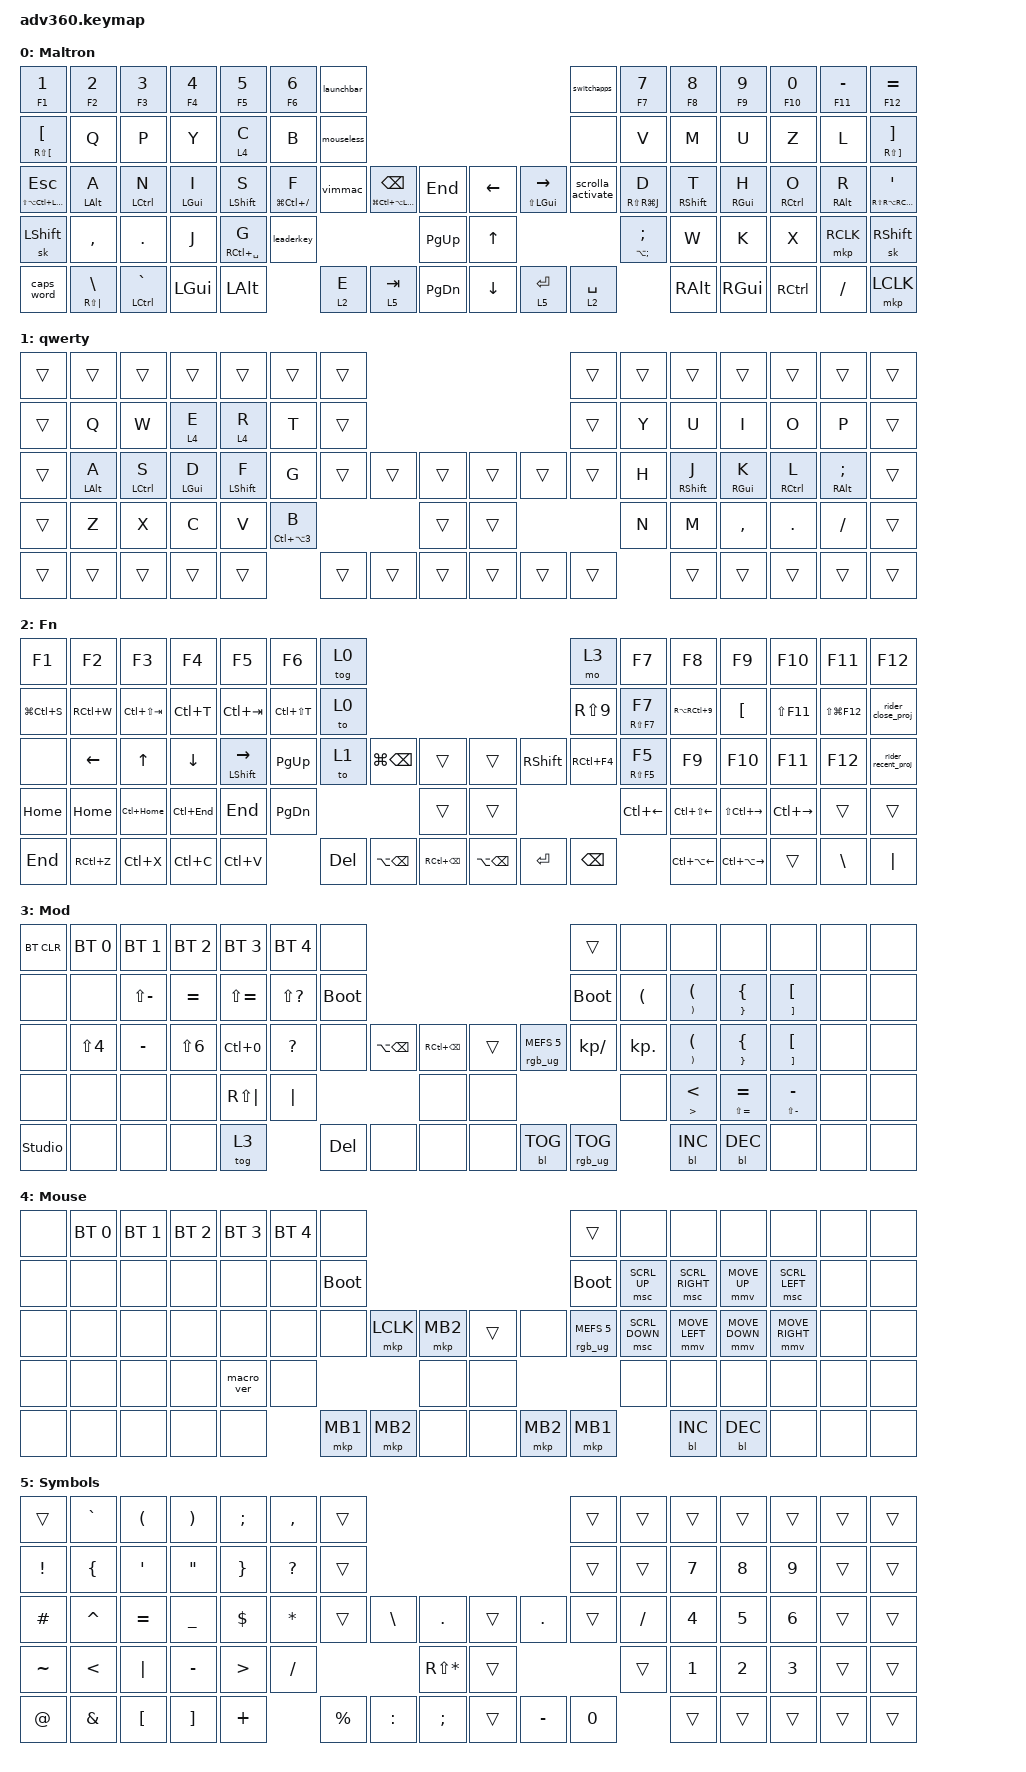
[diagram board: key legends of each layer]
#include <behaviors.dtsi>
#include <dt-bindings/zmk/backlight.h>
#include <dt-bindings/zmk/bt.h>
#include <dt-bindings/zmk/keys.h>
#include <dt-bindings/zmk/pointing.h>
#include <dt-bindings/zmk/rgb.h>

/ {
    behaviors {
        #include "macros.dtsi"
      #include "version.dtsi"
      #ifndef VERSION_MACRO

        macro_ver: macro_ver {
            compatible = "zmk,behavior-macro";
            label = "macro_version";
            #binding-cells = <0>;
            bindings = <&kp RET>;
        };

        #endif

        hm: homerow_mods {
            compatible = "zmk,behavior-hold-tap";
            label = "HOMEROW_MODS";
            #binding-cells = <2>;
            tapping-term-ms = <200>;
            quick_tap_ms = <0>;
            flavor = "tap-preferred";
            bindings = <&kp>, <&kp>;

            quick-tap-ms = <75>;
        };

        //
        // Home row mod-tap keys for all except index fingers
        //

        homey_left: miryoku_hrm_left_hand {
            compatible = "zmk,behavior-hold-tap";
            label = "HOME_ROW_MODS_LEFT_HAND";
            flavor = "balanced";
            hold-trigger-key-positions = <7 8 9 10 11 12 13 21 22 23 24 25 26 27 39 40 41 42 43 44 45 54 55 56 57 58 59 71 72 73 74 75 35 36 52 65 66 67 37 38 53 68 69 70>;
            hold-trigger-on-release; // wait for other home row mods
            tapping-term-ms = <300>;
            quick-tap-ms = <300>;
            global-quick-tap; // with typing streak
            #binding-cells = <2>;
            bindings = <&kp>, <&kp>;
        };

        homey_right: miryoku_hrm_right_hand {
            compatible = "zmk,behavior-hold-tap";
            label = "HOME_ROW_MODS_RIGHT_HAND";
            flavor = "balanced";
            hold-trigger-key-positions = <0 1 2 3 4 5 6 14 15 16 17 18 19 20 28 29 30 31 32 33 34 35 36 46 47 48 49 50 51 52 60 61 62 63 64 65 66 67 37 38 53 68 69 70>;
            hold-trigger-on-release; // wait for other home row mods
            tapping-term-ms = <300>;
            quick-tap-ms = <301>;
            global-quick-tap; // with typing streak
            #binding-cells = <2>;
            bindings = <&kp>, <&kp>;
        };

        //
        // Special home row mod-tap keys for the index fingers
        //

        index_left: miryoku_hrm_left_index_shift {
            compatible = "zmk,behavior-hold-tap";
            label = "HOME_ROW_MODS_LEFT_INDEX_SHIFT";
            flavor = "tap-preferred";
            hold-trigger-key-positions = <7 8 9 10 11 12 13 21 22 23 24 25 26 27 38 39 40 41 42 43 44 45 54 55 56 57 58 59 69 70 71 72 73 74 75 37 38 53 68 69 35 36 52 65 66 67>;

            //hold-trigger-on-release; // don't wait for other mods

            tapping-term-ms = <180>;
            quick-tap-ms = <300>; // enable repeat
            //global-quick-tap; // no typing streak

            #binding-cells = <2>;
            bindings = <&kp>, <&kp>;
        };

        index_right: miryoku_hrm_right_index_shift {
            compatible = "zmk,behavior-hold-tap";
            label = "HOME_ROW_MODS_RIGHT_INDEX_SHIFT";
            flavor = "tap-preferred";
            hold-trigger-key-positions = <0 1 14 15 16 17 18 19 20 28 29 30 31 32 33 34 35 36 46 47 48 49 50 51 52 60 61 62 63 64 65 66 67 2 3 4 5 6 37 37 38 53 68 69 70>;

            //hold-trigger-on-release; // don't wait for other mods

            tapping-term-ms = <180>;
            quick-tap-ms = <300>; // enable repeat
            //global-quick-tap; // no typing streak

            #binding-cells = <2>;
            bindings = <&kp>, <&kp>;
        };

        //
        // Thumb cluster hold-tap keys for Miryoku layers
        //

        thumb: miryoku_thumb_layer {
            compatible = "zmk,behavior-hold-tap";
            label = "MIRYOKU_LAYER_TAP_WITH_REPEAT";
            flavor = "balanced";
            tapping-term-ms = <200>;
            quick-tap-ms = <300>; // enable repeat
            //global-quick-tap; // no typing streak

            #binding-cells = <2>;
            bindings = <&mo>, <&kp>;
        };

        mouse_td: tap_dance_1 {
            compatible = "zmk,behavior-tap-dance";
            label = "MOUSE_TAP_DANCE";
            #binding-cells = <0>;
            tapping-term-ms = <200>;
            bindings = <&kp DEL>, <&tog 4>;
        };

        mouse_hold: mouse_hold_tap {
            compatible = "zmk,behavior-hold-tap";
            label = "MOUSE_HOLD_TAP";
            #binding-cells = <2>;
            flavor = "tap-preferred";
            tapping-term-ms = <200>;
            bindings = <&mo>, <&mouse_td>;
        };

        layer_hold: layer_hold_tap {
            compatible = "zmk,behavior-hold-tap";
            label = "LAYER_HOLD_TAP";
            #binding-cells = <2>;
            flavor = "hold-preferred";
            tapping-term-ms = <200>;
            bindings = <&mo>, <&tog>;
        };

        space_layer: space_layer {
            compatible = "zmk,behavior-hold-tap";
            label = "SPACE_LAYER";
            bindings = <&mo>, <&kp>;

            #binding-cells = <2>;
            tapping-term-ms = <200>;
            quick-tap-ms = <150>;
            flavor = "balanced";
        };

        hold_sticky: hold_sticky {
            compatible = "zmk,behavior-hold-tap";
            #binding-cells = <2>;
            flavor = "tap-preferred";
            tapping-term-ms = <200>;
            bindings = <&sk>, <&kp>;
        };

        tap_hold: tap_hold {
            compatible = "zmk,behavior-hold-tap";
            label = "TAP_HOLD";
            bindings = <&kp>, <&kp>;

            #binding-cells = <2>;
            tapping-term-ms = <200>;
            quick-tap-ms = <175>;
            flavor = "tap-preferred";
        };
    };

    macros {
        switchapps: switchapps {
            compatible = "zmk,behavior-macro";
            #binding-cells = <0>;
            bindings =
                <&macro_press>,
                <&kp LCMD>,
                <&macro_tap>,
                <&kp TAB>,
                <&macro_tap>,
                <&sk LGUI>,
                <&macro_release>,
                <&kp LGUI>;

            label = "SWITCHAPPS";
            tap-ms = <35>;
            wait-ms = <80>;
        };

        toggletalon: toggletalon {
            compatible = "zmk,behavior-macro";
            #binding-cells = <0>;
            bindings =
                <&macro_tap>,
                <&kp F1>,
                <&macro_pause_for_release>,
                <&macro_release>;

            label = "TOGGLETALON";
        };

        vimmac: vimmac {
            compatible = "zmk,behavior-macro";
            #binding-cells = <0>;
            bindings = <&kp LG(LA(Y))>, <&macro_release>;

            label = "VIMMAC";
        };

        clickleft: clickleft {
            compatible = "zmk,behavior-macro";
            #binding-cells = <0>;
            bindings = <&kp LS(LA(LC(LG(SPACE))))>, <&macro_release>;

            label = "CLICKLEFT";
        };

        clickright: clickright {
            compatible = "zmk,behavior-macro";
            #binding-cells = <0>;
            bindings = <&kp LS(LA(LC(LG(R))))>, <&macro_release>;

            label = "CLICKRIGHT";
        };

        launchbar: launchbar {
            compatible = "zmk,behavior-macro";
            #binding-cells = <0>;
            bindings = <&kp LC(SPACE)>, <&macro_release>;

            label = "LAUNCHBAR";
        };

        typ_rocket: typ_rocket {
            compatible = "zmk,behavior-macro";
            #binding-cells = <0>;
            bindings = <&kp SPACE &kp EQUAL &kp GT &kp SPACE>;
            label = "TYP_ROCKET";
        };

        typ_orderby: typ_orderby {
            compatible = "zmk,behavior-macro";
            #binding-cells = <0>;
            bindings = <&kp O &kp R &kp D &kp E &kp R &kp SPACE &kp B &kp Y &kp SPACE>;
            label = "TYP_ORDERBY";
        };

        typ_update: typ_update {
            compatible = "zmk,behavior-macro";
            #binding-cells = <0>;
            bindings = <&kp U &kp P &kp D &kp A &kp T &kp E &kp SPACE>;
            label = "TYP_UPDATE";
        };

        leaderkey: leaderkey {
            compatible = "zmk,behavior-macro";
            #binding-cells = <0>;
            bindings = <&kp LA(MINUS)>, <&macro_release>;

            label = "LEADERKEY";
        };

        mouseless: mouseless {
            compatible = "zmk,behavior-macro";
            #binding-cells = <0>;
            bindings = <&kp LG(LA(H))>;
            label = "MOUSELESS";
        };

        mouseless_toggle: mouseless_toggle {
            compatible = "zmk,behavior-macro";
            #binding-cells = <0>;
            bindings = <&kp LG(LA(U))>;
            label = "MOUSELESS_TOGGLE";
        };

        rider_close_proj: rider_close_proj {
            compatible = "zmk,behavior-macro";
            #binding-cells = <0>;
            bindings = <&kp LA(LC(C))>;
            label = "RIDER_CLOSE_PROJ";
        };

        rider_hide_all_windows: rider_hide_all_windows {
            compatible = "zmk,behavior-macro";
            #binding-cells = <0>;
            bindings = <&kp LG(LS(F12))>;
            label = "RIDER_HIDE_ALL_WINDOWS";
        };

        rider_recent_proj: rider_recent_proj {
            compatible = "zmk,behavior-macro";
            #binding-cells = <0>;
            bindings = <&kp LA(LG(R))>;
            label = "RIDER_RECENT_PROJ";
        };

        scrolla_activate: scrolla_activate {
            compatible = "zmk,behavior-macro";
            #binding-cells = <0>;
            bindings = <&tap_hold LA(LC(LG(S))) RIGHT_BRACKET>;
            label = "SCROLLA_ACTIVATE";
        };
    };

    combos {
        compatible = "zmk,combos";

        typ_rocket {
            bindings = <&typ_rocket>;
            key-positions = <67 68>;
        };

        nav-backward {
            bindings = <&kp LC(LS(TAB))>;
            key-positions = <16 17>;
        };

        nav-forward {
            bindings = <&kp LC(TAB)>;
            key-positions = <17 18>;
        };

        space-left {
            bindings = <&kp LA(LC(LEFT))>;
            key-positions = <71 72>;
        };

        space-right {
            bindings = <&kp LA(LC(RIGHT))>;
            key-positions = <72 73>;
        };

        launchbar {
            bindings = <&launchbar>;
            key-positions = <49 50>;
        };

        combo_launhbar {
            bindings = <&launchbar>;
            key-positions = <65 70>;
        };

        combo_homerow {
            bindings = <&kp LG(LA(Y))>;
            key-positions = <66 69>;
        };

        mouseless {
            bindings = <&kp LG(LA(H))>;
            key-positions = <65 69>;
        };
    };

    keymap {
        compatible = "zmk,keymap";

        maltron {
            display-name = "Maltron";
            bindings = <
&mt F1 NUMBER_1                    &mt F2 NUMBER_2         &mt F3 NUMBER_3         &mt F4 NUMBER_4         &mt F5 N5                 &mt F6 NUMBER_6              &launchbar                                                                                                                       &switchapps           &mt F7 NUMBER_7              &mt F8 N8                   &mt F9 N9                 &mt F10 NUMBER_0      &mt F11 MINUS             &mt F12 EQUAL
&mt RS(LEFT_BRACKET) LEFT_BRACKET  &kp Q                   &kp P                   &kp Y                   &lt 4 C                   &kp B                        &mouseless                                                                                                                       &none                 &kp V                        &kp M                       &kp U                     &kp Z                 &kp L                     &mt RS(RIGHT_BRACKET) RIGHT_BRACKET
&mt LS(LA(LC(LCMD))) ESCAPE        &homey_left LEFT_ALT A  &homey_left LCTRL N     &homey_left LEFT_GUI I  &homey_left LEFT_SHIFT S  &index_left LG(LC(SLASH)) F  &vimmac           &homey_left LG(LC(LA(LSHFT))) BACKSPACE  &kp END            &kp LEFT_ARROW  &hold_sticky LS(LGUI) RIGHT_ARROW  &scrolla_activate     &mt RS(RG(J)) D              &homey_right RIGHT_SHIFT T  &homey_right RIGHT_GUI H  &homey_right RCTRL O  &homey_right RIGHT_ALT R  &mt RS(RA(RC(RIGHT_COMMAND))) SINGLE_QUOTE
&sk LSHIFT                         &kp COMMA               &kp PERIOD              &kp J                   &mt RC(SPACE) G           &leaderkey                                                                              &kp PG_UP          &kp UP_ARROW                                                             &mt LA(SEMICOLON) SEMICOLON  &kp W                       &kp K                     &kp X                 &mkp RCLK                 &sk RIGHT_SHIFT
&caps_word                         &mt RS(PIPE) BACKSLASH  &mt LEFT_CONTROL GRAVE  &kp LEFT_GUI            &kp LEFT_ALT                                           &space_layer 2 E  &thumb 5 TAB                             &kp PAGE_DOWN      &kp DOWN_ARROW  &thumb 5 ENTER                     &space_layer 2 SPACE                               &kp RALT                    &kp RGUI                  &kp RIGHT_CONTROL     &kp SLASH                 &mkp LCLK
            >;
        };

        qwerty {
            display-name = "qwerty";
            bindings = <
&trans  &trans              &trans               &trans              &trans               &trans                  &trans                                      &trans  &trans  &trans                &trans               &trans                &trans                       &trans
&trans  &kp Q               &kp W                &lt 4 E             &lt 4 R              &kp T                   &trans                                      &trans  &kp Y   &kp U                 &kp I                &kp O                 &kp P                        &trans
&trans  &homey_left LALT A  &homey_left LCTRL S  &homey_left LGUI D  &index_left LSHFT F  &kp G                   &trans  &trans  &trans      &trans  &trans  &trans  &kp H   &index_right RSHFT J  &homey_right RGUI K  &homey_right RCTRL L  &homey_right RALT SEMICOLON  &trans
&trans  &kp Z               &kp X                &kp C               &kp V                &mt LC(LA(NUMBER_3)) B                  &trans      &trans                  &kp N   &kp M                 &kp COMMA            &kp PERIOD            &kp SLASH                    &trans
&trans  &trans              &trans               &trans              &trans                                       &trans  &trans  &trans      &trans  &trans  &trans          &trans                &trans               &trans                &trans                       &trans
            >;
        };

        fn {
            display-name = "Fn";
            bindings = <
&kp F1         &kp F2          &kp F3           &kp F4          &kp F5                &kp F6         &tog 0                                                                              &mo 3             &kp F7         &kp F8                  &kp F9                   &kp F10        &kp F11          &kp F12
&kp LG(LC(S))  &kp RC(W)       &kp LC(LS(TAB))  &kp LC(T)       &kp LC(TAB)           &kp LC(LS(T))  &to 0                                                                               &kp RS(NUMBER_9)  &mt RS(F7) F7  &kp RA(RC(N9))          &kp LEFT_BRACKET         &kp LS(F11)    &kp LS(LG(F12))  &rider_close_proj
&none          &kp LEFT_ARROW  &kp UP_ARROW     &kp DOWN_ARROW  &mt LEFT_SHIFT RIGHT  &kp PG_UP      &to 1       &kp LG(BACKSPACE)  &trans                 &trans             &kp RSHFT  &kp RC(F4)        &mt RS(F5) F5  &kp F9                  &kp F10                  &kp F11        &kp F12          &rider_recent_proj
&kp HOME       &kp HOME        &kp LC(HOME)     &kp LC(END)     &kp END               &kp PG_DN                                     &trans                 &trans                                          &kp LC(LEFT)   &kp LC(LS(LEFT))        &kp LS(LC(RIGHT))        &kp LC(RIGHT)  &trans           &trans
&kp END        &kp RC(Z)       &kp LC(X)        &kp LC(C)       &kp LC(V)                            &kp DELETE  &kp LA(BACKSPACE)  &kp RC(BACKSPACE)      &kp LA(BACKSPACE)  &kp ENTER  &kp BACKSPACE                    &kp LC(LA(LEFT_ARROW))  &kp LC(LA(RIGHT_ARROW))  &trans         &kp BACKSLASH    &kp PIPE
            >;
        };

        mod {
            display-name = "Mod";
            bindings = <
&bt BT_CLR      &bt BT_SEL 0      &bt BT_SEL 1   &bt BT_SEL 2      &bt BT_SEL 3   &bt BT_SEL 4      &none                                                                                  &trans           &none                 &none                                   &none                       &none                           &none  &none
&none           &none             &kp LS(MINUS)  &kp EQUAL         &kp LS(EQUAL)  &kp LS(QUESTION)  &bootloader                                                                            &bootloader      &kp LEFT_PARENTHESIS  &mt RIGHT_PARENTHESIS LEFT_PARENTHESIS  &mt RIGHT_BRACE LEFT_BRACE  &mt RIGHT_BRACKET LEFT_BRACKET  &none  &none
&none           &kp LS(NUMBER_4)  &kp MINUS      &kp LS(NUMBER_6)  &kp LC(N0)     &kp QUESTION      &none        &kp LA(BACKSPACE)  &kp RC(BACKSPACE)      &trans  &rgb_ug RGB_MEFS_CMD 5  &kp KP_DIVIDE    &kp KP_DOT            &mt RIGHT_PARENTHESIS LEFT_PARENTHESIS  &mt RIGHT_BRACE LEFT_BRACE  &mt RIGHT_BRACKET LEFT_BRACKET  &none  &none
&none           &none             &none          &none             &kp RS(PIPE)   &kp PIPE                                          &none                  &none                                            &none                 &mt GREATER_THAN LESS_THAN              &mt LS(EQUAL) EQUAL         &mt LS(MINUS) MINUS             &none  &none
&studio_unlock  &none             &none          &none             &tog 3                           &kp DEL      &none              &none                  &none   &bl BL_TOG              &rgb_ug RGB_TOG                        &bl BL_INC                              &bl BL_DEC                  &none                           &none  &none
            >;
        };

        mouse_layer {
            display-name = "Mouse";
            bindings = <
&none  &bt BT_SEL 0  &bt BT_SEL 1  &bt BT_SEL 2  &bt BT_SEL 3  &bt BT_SEL 4  &none                                                   &trans                  &none           &none            &none           &none            &none  &none
&none  &none         &none         &none         &none         &none         &bootloader                                             &bootloader             &msc SCRL_UP    &msc SCRL_RIGHT  &mmv MOVE_UP    &msc SCRL_LEFT   &none  &none
&none  &none         &none         &none         &none         &none         &none        &mkp LCLK  &mkp MB2      &trans  &none     &rgb_ug RGB_MEFS_CMD 5  &msc SCRL_DOWN  &mmv MOVE_LEFT   &mmv MOVE_DOWN  &mmv MOVE_RIGHT  &none  &none
&none  &none         &none         &none         &macro_ver    &none                                 &none         &none                                     &none           &none            &none           &none            &none  &none
&none  &none         &none         &none         &none                       &mkp MB1     &mkp MB2   &none         &none   &mkp MB2  &mkp MB1                                &bl BL_INC       &bl BL_DEC      &none            &none  &none
            >;
        };

        Symbols {
            display-name = "Symbols";
            bindings = <
&trans           &kp GRAVE       &kp LEFT_PARENTHESIS  &kp RIGHT_PARENTHESIS  &kp SEMICOLON     &kp COMMA     &trans                                                                &trans  &trans     &trans        &trans        &trans        &trans  &trans
&kp EXCLAMATION  &kp LEFT_BRACE  &kp SQT               &kp DOUBLE_QUOTES      &kp RIGHT_BRACE   &kp QUESTION  &trans                                                                &trans  &trans     &kp NUMBER_7  &kp NUMBER_8  &kp NUMBER_9  &trans  &trans
&kp HASH         &kp CARET       &kp EQUAL             &kp UNDERSCORE         &kp DOLLAR        &kp ASTERISK  &trans       &kp BACKSLASH  &kp PERIOD            &trans  &kp PERIOD  &trans  &kp SLASH  &kp NUMBER_4  &kp NUMBER_5  &kp NUMBER_6  &trans  &trans
&kp TILDE        &kp LESS_THAN   &kp PIPE              &kp MINUS              &kp GREATER_THAN  &kp SLASH                                 &kp RS(ASTERISK)      &trans                      &trans     &kp NUMBER_1  &kp NUMBER_2  &kp NUMBER_3  &trans  &trans
&kp AT_SIGN      &kp AMPERSAND   &kp LEFT_BRACKET      &kp RIGHT_BRACKET      &kp PLUS                        &kp PERCENT  &kp COLON      &kp SEMICOLON         &trans  &kp MINUS   &kp N0             &trans        &trans        &trans        &trans  &trans
            >;
        };
    };

    extra1 {
        display-name = "Extra";
        status = "reserved";
    };

    extra2 {
        display-name = "Extra";
        status = "reserved";
    };

    extra3 {
        display-name = "Extra";
        status = "reserved";
    };

    extra4 {
        display-name = "Extra";
        status = "reserved";
    };
};
